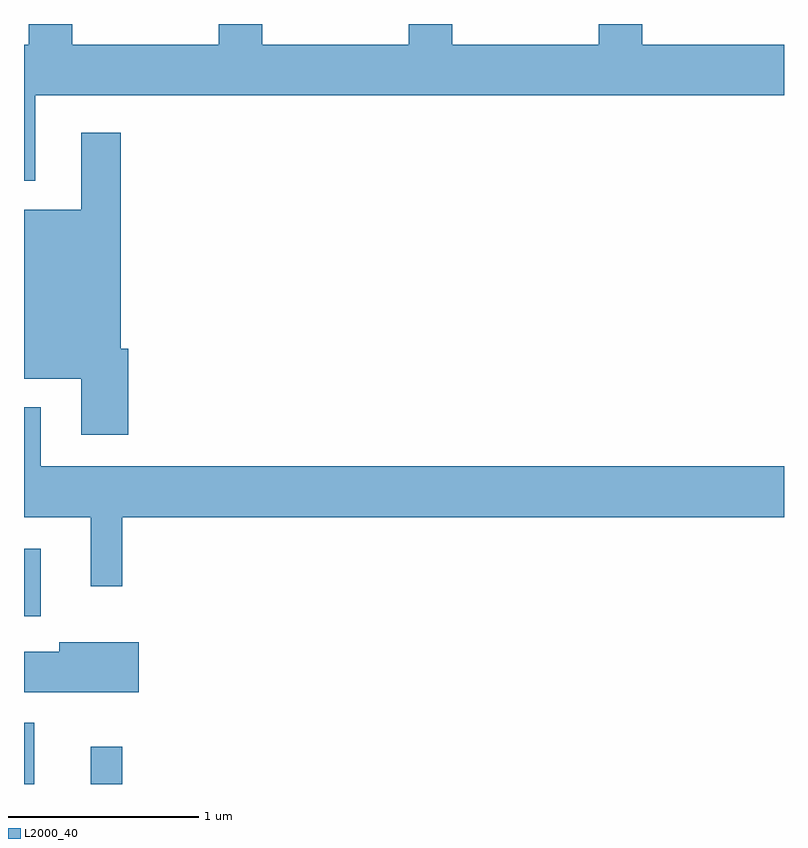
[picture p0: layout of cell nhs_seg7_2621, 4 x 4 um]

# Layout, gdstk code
import gdstk
lib = gdstk.Library(unit=1e-6, precision=1e-09)
def R(c, l, rs):  # rectangles x0, y0, x1, y1
    for r in rs: c.add(gdstk.rectangle(r[:2], r[2:], *l))
def P(c, l, *ps):  # polygons
    for p in ps: c.add(gdstk.Polygon(p, *l))
L2000_40 = (2000, 40)

nhs_seg7_2621 = lib.new_cell('nhs_seg7_2621')
R(nhs_seg7_2621, L2000_40, [(265.611,1706.252,265.664,1706.574), (265.961,1706.252,266.129,1706.448), (265.611,1707.136,265.699,1707.489)])
P(nhs_seg7_2621, L2000_40, [(265.669,1709.876),(269.611,1709.876),(269.611,1710.144),(268.864,1710.144),(268.864,1710.252),(268.636,1710.252),(268.636,1710.144),(267.864,1710.144),(267.864,1710.252),(267.636,1710.252),(267.636,1710.144),(266.864,1710.144),(266.864,1710.252),(266.636,1710.252),(266.636,1710.144),(265.864,1710.144),(265.864,1710.252),(265.636,1710.252),(265.636,1710.144),(265.611,1710.144),(265.611,1709.426),(265.669,1709.426)],
  [(266.159,1708.544),(266.119,1708.544),(266.119,1709.679),(265.911,1709.679),(265.911,1709.274),(265.611,1709.274),(265.611,1708.386),(265.911,1708.386),(265.911,1708.091),(266.159,1708.091)],
  [(266.129,1707.656),(269.611,1707.656),(269.611,1707.924),(265.699,1707.924),(265.699,1708.234),(265.611,1708.234),(265.611,1707.656),(265.961,1707.656),(265.961,1707.293),(266.129,1707.293)],
  [(266.214,1706.999),(265.796,1706.999),(265.796,1706.949),(265.611,1706.949),(265.611,1706.736),(266.214,1706.736)])

lib.write_gds('nhs_seg7_2621.gds')
